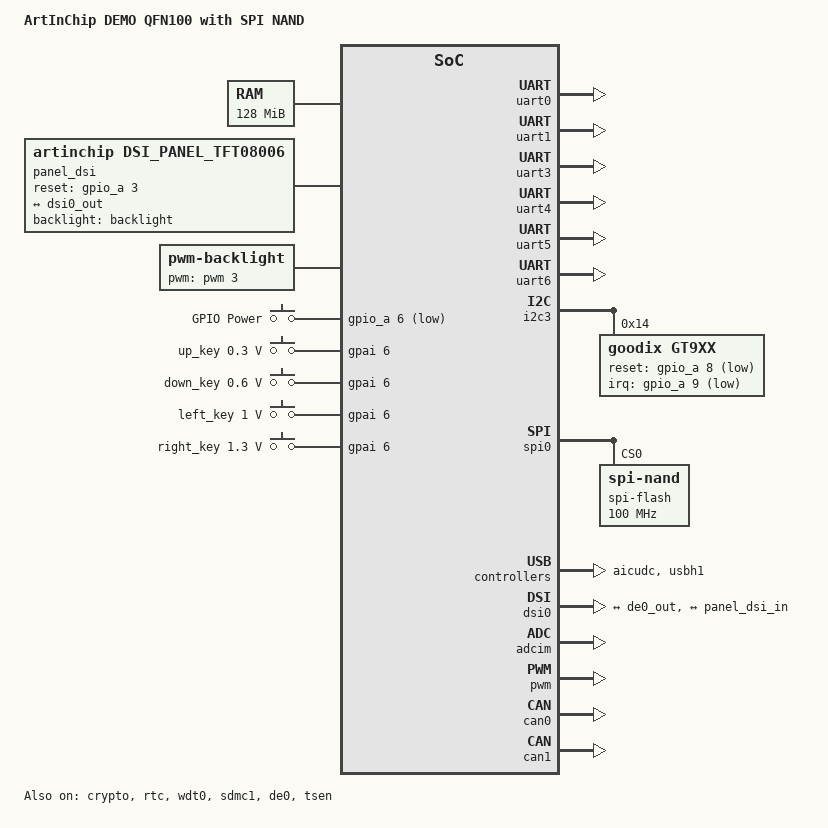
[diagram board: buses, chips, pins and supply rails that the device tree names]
/*
 * Copyright (C) 2020-2022 ArtInChip Technology Co., Ltd.
 *
 * This file is dual-licensed: you can use it either under the terms
 * of the GPL or the X11 license, at your option. Note that this dual
 * licensing only applies to this file, and not this project as a
 * whole.
 *
 *  a) This file is free software; you can redistribute it and/or
 *     modify it under the terms of the GNU General Public License as
 *     published by the Free Software Foundation; either version 2 of the
 *     License, or (at your option) any later version.
 *
 *     This file is distributed in the hope that it will be useful,
 *     but WITHOUT ANY WARRANTY; without even the implied warranty of
 *     MERCHANTABILITY or FITNESS FOR A PARTICULAR PURPOSE.  See the
 *     GNU General Public License for more details.
 *
 * Or, alternatively,
 *
 *  b) Permission is hereby granted, free of charge, to any person
 *     obtaining a copy of this software and associated documentation
 *     files (the "Software"), to deal in the Software without
 *     restriction, including without limitation the rights to use,
 *     copy, modify, merge, publish, distribute, sublicense, and/or
 *     sell copies of the Software, and to permit persons to whom the
 *     Software is furnished to do so, subject to the following
 *     conditions:
 *
 *     The above copyright notice and this permission notice shall be
 *     included in all copies or substantial portions of the Software.
 *
 *     THE SOFTWARE IS PROVIDED "AS IS", WITHOUT WARRANTY OF ANY KIND,
 *     EXPRESS OR IMPLIED, INCLUDING BUT NOT LIMITED TO THE WARRANTIES
 *     OF MERCHANTABILITY, FITNESS FOR A PARTICULAR PURPOSE AND
 *     NONINFRINGEMENT. IN NO EVENT SHALL THE AUTHORS OR COPYRIGHT
 *     HOLDERS BE LIABLE FOR ANY CLAIM, DAMAGES OR OTHER LIABILITY,
 *     WHETHER IN AN ACTION OF CONTRACT, TORT OR OTHERWISE, ARISING
 *     FROM, OUT OF OR IN CONNECTION WITH THE SOFTWARE OR THE USE OR
 *     OTHER DEALINGS IN THE SOFTWARE.
 */

/dts-v1/;
#include "d211.dtsi"
#include "d211-pinctrl.dtsi"
#include <dt-bindings/display/artinchip,aic-disp.h>
#include <dt-bindings/gpio/gpio.h>
#include <dt-bindings/pwm/pwm.h>
#include <dt-bindings/input/input.h>

/ {
	model = "ArtInChip DEMO QFN100 with SPI NAND";
	compatible = "artinchip,d211";
	package = "QFN128";

	aliases {
		gpio0 = &gpio_a;
		gpio1 = &gpio_b;
		gpio2 = &gpio_c;
		gpio3 = &gpio_d;
		gpio4 = &gpio_e;
		gpio5 = &gpio_f;
		pinctrl = &pinctrl;
		serial0 = &uart0;
		serial1 = &uart1;
		serial2 = &uart2;
		serial3 = &uart3;
		serial4 = &uart4;
		serial5 = &uart5;
		serial6 = &uart6;
		serial7 = &uart7;
		i2c0 = &i2c0;
		i2c1 = &i2c1;
		i2c2 = &i2c2;
		i2c3 = &i2c3;
		can0 = &can0;
		can1 = &can1;
		spi0 = &spi0;
		spi1 = &spi1;
		spi2 = &spi2;
		spi3 = &spi3;
		gmac0 = &gmac0;
		gmac1 = &gmac1;
		rtc = &rtc;
		wdt0 = &wdt0;
		fb0 = &fb0;
		de0 = &de0;
		lvds0 = &lvds0;
		rgb0 = &rgb0;
		dsi0 = &dsi0;
		dvp0 = &dvp0;
		cir = &cir;
		adcim = &adcim;
		gpai = &gpai;
		rtp = &rtp;
		tsen = &tsen;
		pwm = &pwm;
		sdmc0 = &sdmc0;
		sdmc1 = &sdmc1;
		sdmc2 = &sdmc2;
	};

	chosen {
		stdout-path = "serial0:115200n8";
		bootargs = "rdinit=/init earlycon=sbi loglevel=8";
		reset-after-fw-burn;
	};

	memory@40000000 {
		device_type = "memory";
		reg = <0x0 0x40000000 0x0 0x8000000>;
	};

	/* Reserved 1M memory for aic ramdump
	   When enable CONFIG_AIC_RAMDUMP in linux kernel, also must enable below node.
	*/
	reserved-memory {
		#address-cells = <2>;
		#size-cells = <2>;
		ranges;

	#if 0
		aic_ramdump_buf {
			compatible = "artinchip,aic-ramdump";
			no-map;
			reg = <0x43f00000 0x100000>;
		};
	#endif
		};
#if 0
	syspower {
		compatible = "artinchip,aic-power";
		power-gpios = <&gpio_e 13 GPIO_ACTIVE_HIGH>;
	};
#endif

	panel_rgb {
		compatible = "artinchip,aic-general-rgb-panel";
		status = "disabled";

		enable-gpios = <&gpio_e 19 GPIO_ACTIVE_HIGH>;
		rgb-mode = <PRGB>;
		interface-format = <PRGB_16BIT_LD>;
		clock-phase = <DEGREE_0>;
		data-order = <RGB>;
		disp-dither = <DITHER_RGB565>;

		port {
			panel_rgb_in: endpoint {
			remote-endpoint = <&rgb0_out>;
			};
		};

		display-timings {
			native-mode = <&timing0>;
			timing0: 1024x600 {
				clock-frequency = <52000000>;
				hactive = <1024>;
				vactive = <600>;
				hback-porch = <160>;
				hfront-porch = <160>;
				hsync-len = <20>;
				vback-porch = <12>;
				vfront-porch = <20>;
				vsync-len = <3>;
				de-active = <1>;
				pixelclk-active = <1>;
			};
		};
	};
	panel_dsi {
		compatible = "artinchip,dsi_panel_tft08006";
		backlight = <&backlight>;
		status = "okay";

		//dcdc-en-gpios  = <&gpio_p 0 GPIO_ACTIVE_HIGH>;
		reset-gpios  = <&gpio_a 3 GPIO_ACTIVE_HIGH>;
		//enable-gpios = <&gpio_c 7 GPIO_ACTIVE_HIGH>;

		port {
			panel_dsi_in: endpoint {
				remote-endpoint = <&dsi0_out>;
			};
		};
		display-timings {
			native-mode = <&timing2>;
			timing2: 480x800 {
				clock-frequency = <62000000>;
				hactive = <400>;
				vactive = <1280>;
				hback-porch = <80>;
				hfront-porch = <100>;
				hsync-len = <30>;
				vback-porch = <30>;
				vfront-porch = <30>;
				vsync-len = <20>;
				de-active = <0>;
				pixelclk-active = <0>;
			};
		};
	};

	backlight: backlight {
		compatible = "pwm-backlight";
		/* pwm node name; pwm device No.; period_ns; pwm_polarity */
		pwms = <&pwm 3 1000000 1>;
		brightness-levels = <0 10 20 30 40 50 60 70 80 90 100>;
		default-brightness-level = <1>;
		status = "okay";
	};

	keys: gpio-keys {
		compatible = "gpio-keys";

		power {
			wakeup-source;
			gpios = <&gpio_a 6 GPIO_ACTIVE_LOW>;
			label = "GPIO Power";
			linux,code = <KEY_POWER>;
		};
	};

	key_button: adc-keys {
		compatible = "adc-keys";
		io-channels = <&gpai 6>;
		io-channel-names = "buttons";
		poll-interval = <200>;
		keyup-threshold-microvolt = <3000000>;

		up-key {
			label = "up_key";
			linux,code = <KEY_UP>;
			press-threshold-microvolt = <300000>;
		};

		down-key {
			label = "down_key";
			linux,code = <KEY_DOWN>;
			press-threshold-microvolt = <600000>;
		};

		left-key {
			label = "left_key";
			linux,code = <KEY_LEFT>;
			press-threshold-microvolt = <1000000>;
		};

		right-key {
			label = "right_key";
			linux,code = <KEY_RIGHT>;
			press-threshold-microvolt = <1300000>;
		};
	};
};

&crypto {
	status = "okay";
};

&cmu {
	pll-int0 = <600000000>;
	pll-int1 = <1200000000>;
	pll-frac1 = <491520000>;
	pll-frac2 = <840000000>;
	axi0 = <240000000>;
	ahb0 = <240000000>;
	apb0 = <100000000>;
	apb1 = <24000000>;
	clk-out0 = <25000000>;
	clk-out1 = <25000000>;
	clk-out2 = <25000000>;
	clk-out3 = <25000000>;
	// clk-out0-enable;
	// clk-out1-enable;
	/* Enable clock out2 */
	clk-out2-enable;
	clk-out3-enable;
};

&rtc {
	aic,alarm-io-output;
	status = "okay";
};

&wdt0 {
	timeout-sec = <16>;
	status = "okay";
};

&uart0 {
	pinctrl-names = "default";
	pinctrl-0 = <&uart0_pins_a>;
	status = "okay";
};

&uart1 {
	pinctrl-names = "default";
	pinctrl-0 = <&uart1_pins_a>;
	linux,rs485-enabled-at-boot-time;
	status = "okay";
};

&uart2 {
	pinctrl-names = "default";
	pinctrl-0 = <&uart2_pins_a>;
	status = "disabled";
};

&uart3 {
	pinctrl-names = "default";
	pinctrl-0 = <&uart3_pins_c>;
	status = "okay";
};

&uart4 {
	pinctrl-names = "default";
	pinctrl-0 = <&uart4_pins_b>;
	status = "okay";
};

&uart5 {
	pinctrl-names = "default";
	pinctrl-0 = <&uart5_pins_c>;
	status = "okay";
};

&uart6 {
	pinctrl-names = "default";
	pinctrl-0 = <&uart6_pins_b>;
	status = "okay";
};

&uart7 {
	pinctrl-names = "default";
	pinctrl-0 = <&uart7_pins_a>;
	status = "disabled";
};

&i2c0 {
	pinctrl-names = "default";
	pinctrl-0 = <&i2c0_pins_b>;
	status = "disabled";
	rtc@32 {
		compatible = "epson,rx8010";
		reg = <0x32>;
	};
};

&i2c1 {
	pinctrl-names = "default";
	pinctrl-0 = <&i2c1_pins_a>;
	status = "disabled";
};
&i2c2 {
	pinctrl-names = "default";
	pinctrl-0 = <&i2c2_pins_a>;
	status = "disabled";
};

&i2c3 {
	pinctrl-names = "default";
	pinctrl-0 = <&i2c3_pins_a>;
	status = "okay";
	gt9xx@14{ 
			compatible = "goodix,gt9xx";	
			status = "okay";
			reg = <0x14>;			
	    	reset-gpios = <&gpio_a 8 GPIO_ACTIVE_LOW>;
        	irq-gpios = <&gpio_a 9 GPIO_ACTIVE_LOW>;
        	irq-flags = <2>;
        	touchscreen-max-id = <11>;
        	touchscreen-size-x = <1280>;                //CTP x轴的范围
        	touchscreen-size-y = <400>;                 //CTP y轴的范围
        	touchscreen-max-w = <512>;                  //MAX width
        	touchscreen-max-p = <512>;                  //MAX pressure
			goodix,driver-send-cfg = <1>;
        	goodix,int-sync = <1>;
			/*
			goodix,cfg-group0 = [
				00 00 05 90 01 05 BD 00 01 08
				1E 05 3C 3C 03 05 00 00 00 00
				00 00 00 1A 1C 1E 14 8A 2A 0C
				2A 28 EB 04 00 00 01 61 03 2C
				00 01 00 00 00 00 00 00 00 00
				00 14 3C 94 C5 02 08 00 00 04 
				B7 16 00 9F 1B 00 8B 22 00 7B
				2B 00 70 36 00 70 00 00 00 00
				00 00 00 00 00 00 00 00 00 00
				00 00 00 00 00 00 00 00 00 00
				00 00 00 00 00 00 00 00 00 00
				00 00 18 16 14 12 10 0E 0C 0A
				08 06 04 02 FF FF FF FF FF FF
				FF FF FF FF FF FF FF FF FF FF
				FF FF 24 22 21 20 1F 1E 1D 1C
				18 16 13 12 10 0F 0A 08 06 04
				02 00 FF FF FF FF FF FF FF FF
				FF 00 00 00 00 00 00 00 00 00
				00 00 00 00 34 01
			];
			*/
goodix,cfg-group0 = [
    /* 将 0x3D 改为 0x2D 来翻转X轴 */
    43 00 05 90 01 0A 2D 00 01 0F 28 0F 50 32 03 05 
    00 00 00 00 22 00 00 18 1A 1E 14 8A 2A 0A 34 32 
    B5 06 00 00 00 B9 02 2C 00 00 00 00 00 03 64 32 
    00 00 00 1E 46 94 D5 02 07 0A 00 04 BD 20 00 A2 
    26 00 8C 2D 00 78 36 00 68 40 00 68 00 00 00 00 
    00 00 00 00 00 00 00 00 00 00 00 00 00 00 00 00 
    00 00 00 00 00 00 00 00 00 00 00 00 00 00 00 00 
    14 12 10 0E 0C 0A 08 06 04 02 FF FF FF FF FF FF 
    FF FF FF FF FF FF FF FF FF FF FF FF FF FF 00 02 
    04 06 08 0A 0F 10 12 13 24 22 21 20 1F 1E 1D 1C 
    18 16 FF FF FF FF FF FF FF FF FF FF FF FF FF FF 
    FF FF FF FF FF FF FF FF 2D 01  /* 注意校验和也需要改 */
];
		};
};

&spi0 {
	pinctrl-names = "default";
	pinctrl-0 = <&spi0_pins_a>;
	status = "okay";
	spi-max-frequency = <100000000>;
	spi-flash@0 {
		#address-cells = <1>;
		#size-cells = <1>;
		compatible = "spi-nand";
		spi-max-frequency = <100000000>;
		spi-tx-bus-width = <4>;
		spi-rx-bus-width = <4>;
		reg = <0>;
		// aic,encrypt;
		// aic,spi-id = <0>;
		status = "okay";
	};
};

&spi1 {
	pinctrl-names = "default";
	pinctrl-0 = <&spi1_pins_a>;
	status = "disabled";
};
/*
&spi2 {
	pinctrl-names = "default";
	pinctrl-0 = <&spi2_pins_a>;
	status = "disabled";
};
*/
&spi3 {
	pinctrl-names = "default";
	pinctrl-0 = <&spi3_pins_a>;
	status = "disabled";
};

&sdmc0 {
	pinctrl-names = "default";
	pinctrl-0 = <&sdmc0_pins>;
	bus-width = <4>;
	cap-mmc-highspeed;
	status = "disabled";
};

&sdmc1 {
	pinctrl-names = "default";
	pinctrl-0 = <&sdmc1_pins>;
	bus-width = <4>;
	cap-sd-highspeed;
	status = "okay";
};
/*
&sdmc2 {
	pinctrl-names = "default";
	pinctrl-0 = <&sdmc2_pins>;
	status = "disabled";
};
*/

/* case 1: USB0 = OTG Enable */
#if 0
&otg {
	id-gpios = <&gpio_a 2 GPIO_ACTIVE_HIGH>;
	// vbus-en-gpios = <&gpio_a 3 GPIO_ACTIVE_HIGH>;
	status = "okay";
};

&aicudc {
	pinctrl-names = "default";
	pinctrl-0 = <&usb0_pins_a>;
	status = "okay";
};

&usbh0 {
	status = "okay";
};

&ohci0 {
	status = "okay";
};

/* case 2: USB0 = OTG Disable */
#else

&otg {
	status = "disabled";
};

/* case 2.1: USB0 = Device */
#if 1
&aicudc {
	pinctrl-names = "default";
	pinctrl-0 = <&usb0_pins_a>;
	status = "okay";
};

&usbh0 {
	status = "disabled";
};
&ohci0 {
	status = "disabled";
};

/* case 2.2: USB0 = Host */
#else
// &aicudc {
// 	aic,only-uboot-use;
// 	status = "okay";
// };

&usbh0 {
	pinctrl-names = "default";
	pinctrl-0 = <&usb0_pins_a>;
	artinchip,sw_usb_phy0;
	// vbus-en-gpios = <&gpio_a 3 GPIO_ACTIVE_HIGH>;
	status = "okay";
};
&ohci0 {
	status = "okay";
};
#endif
#endif

&usbh1 {
	status = "okay";
};

&pinctrl {
	gmac0_local_pins: gmac0-2 {
		pins {
			pinmux = <AIC_PINMUX('E', 0, 6)>,
				 <AIC_PINMUX('E', 1, 6)>,
				 <AIC_PINMUX('E', 2, 6)>,
				 <AIC_PINMUX('E', 3, 6)>,
				 <AIC_PINMUX('E', 4, 6)>,
				 <AIC_PINMUX('E', 5, 6)>,
				 <AIC_PINMUX('E', 7, 6)>,
				 <AIC_PINMUX('E', 8, 6)>,
				 <AIC_PINMUX('E', 9, 6)>;
			bias-disable;
			drive-strength = <3>;
		};
	};

	gmac1_local_pins: gmac1-0 {
                pins {
                        pinmux = <AIC_PINMUX('F', 0, 6)>,
                                 <AIC_PINMUX('F', 1, 6)>,
                                 <AIC_PINMUX('F', 2, 6)>,
                                 <AIC_PINMUX('F', 3, 6)>,
                                 <AIC_PINMUX('F', 4, 6)>,
                                 <AIC_PINMUX('F', 5, 6)>,
                                 <AIC_PINMUX('F', 7, 6)>,
                                 <AIC_PINMUX('F', 8, 6)>,
                                 <AIC_PINMUX('F', 9, 6)>;
                        bias-disable;
                        drive-strength = <3>;
                };
        };

	pwm3_pins_d: pwm3-3 {
		pins {
			pinmux = <AIC_PINMUX('C', 7, 7)>;
			bias-disable;
			drive-strength = <3>;
		};
	};

	spk_pins_d: spk-3 {
		pins {
			pinmux = <AIC_PINMUX('E', 11, 4)>;
			bias-disable;
			drive-strength = <3>;
		};
	};
};

&gmac0 {
	pinctrl-names = "default";
	pinctrl-0 = <&gmac0_local_pins>, <&clk_out2_pins_b>;
	phy-handle = <&gmac0_phy>;
	phy-reset-gpios = <&gpio_e 6 GPIO_ACTIVE_HIGH>;
	phy-addr = <1>;
	phy-mode = "rmii";
	max-speed = <100>;
	aic,use_extclk;

	status = "disabled";

	gmac0_mdio: mdio {
		compatible = "aicmac-mdio";
		#address-cells = <1>;
		#size-cells = <0>;
		gmac0_phy: ethernet-phy@1 {
			reg = <1>;
		};
	};
};

&gmac1 {
        pinctrl-names = "default";
        pinctrl-0 = <&gmac1_local_pins>, <&clk_out3_pins_b>;
        phy-handle = <&gmac1_phy>;
        phy-reset-gpios = <&gpio_f 6 GPIO_ACTIVE_HIGH>;
        phy-addr = <1>;
        phy-mode = "rmii";
        max-speed = <100>;
        aic,use_extclk;
	local-mac-address = [2e f6 01 e3 76 b6];

        status = "disabled";

        gmac1_mdio: mdio {
                compatible = "aicmac-mdio";
                #address-cells = <1>;
                #size-cells = <0>;
                gmac1_phy: ethernet-phy@1 {
                        reg = <1>;
                };
        };
};

&codec {
	pinctrl-names = "default";
	pinctrl-0 = <&spk_pins_d>, <&dmic_pins_b>;
	pa-gpios = <&gpio_a 7 GPIO_ACTIVE_LOW>;
	status = "disabled";
};

/* The data flow:
 * fb ---> de ----> lvds ----> panel
 *              |-> rgb  ->|
 *              '-> dsi  ->'
 */

&fb0 {
	artinchip,uboot-logo-on=<1>;
	height-virtual = <800>;
	rotation-degress = <90>;
        disp-bright = <50>;
        disp-contrast = <50>;
        disp-saturation = <50>;
        disp-hue = <50>;
	port {
		fb0_out: endpoint {
			remote-endpoint = <&de0_in>;
		};
	};
};

&de0 {
	status = "okay";

	port@0 {
		reg = <0>;
		de0_in: endpoint {
			remote-endpoint = <&fb0_out>;
		};
	};

	port@1 {
		reg = <1>;
		de0_out: endpoint {
			remote-endpoint = <&dsi0_in>;
		};
	};
};

&rgb0 {
	pinctrl-names = "default", "sleep";
	pinctrl-0 = <&lcd_rgb565_ld_pins>;
	pinctrl-1 = <&lcd_rgb565_ld_sleep_pins>;
	status = "disabled";

	port@0 {
		reg = <0>;
		rgb0_in: endpoint {
			remote-endpoint = <&rgb0_in>;
		};
	};

	port@1 {
		reg = <1>;
		rgb0_out: endpoint {
			remote-endpoint = <&panel_rgb_in>;
		};
	};
};

&dsi0 {
    status = "okay";
    pinctrl-names = "default";
    pinctrl-0 = <&dsi_pins>;
    //data-lanes = <0 1>;
    //lane-polarities=<0 0>;
    data-clk-inverse;
    port@0 {
        reg = <0>;
        dsi0_in: endpoint {
            remote-endpoint = <&de0_out>;
        };
    };

    port@1 {
        reg = <1>;
        dsi0_out: endpoint {
            remote-endpoint = <&panel_dsi_in>;
        };
    };
};

&cir {
	pinctrl-names = "default";
	pinctrl-0 = <&cir_pins_a>;
	rx-level = <1>;
	linux,rc-map-name = "rc-empty";
	status = "disabled";
};

&adcim {
	status = "okay";
};

&gpai {
	status = "disabled";
	pinctrl-names = "default";
	pinctrl-0 = <&gpai7_pins>;

	gpai0 {
		aic,sample-period-ms = <10>;
		aic,high-level-thd = <1830>;
		aic,low-level-thd = <1800>;
		status = "disabled";
	};

	gpai1 {
		status = "disabled";
	};

	gpai2 {
		status = "disabled";
	};

	gpai3 {
		status = "disabled";
	};

	gpai4 {
		status = "disabled";
	};

	gpai5 {
		status = "disabled";
	};

	gpai6 {
		status = "okay";
	};

	gpai7 {
		status = "disabled";
	};
};

&rtp {
	aic,max-pressure = <800>;
	aic,x-plate = <235>;
	pinctrl-names = "default";
	pinctrl-0 = <&rtp_pins>;
	status = "disabled";
};

&tsen {
	status = "okay";

	tsen0 {
		status = "okay";
	};

	tsen1 {
		status = "okay";
	};
};

&pwm {
	status = "okay";
	pinctrl-names = "default";
	pinctrl-0 = <&pwm3_pins_d>;
	/* mode: up-count, down-count, up-down-count
	   action: none, low, high, inverse */
	pwm0 {
		aic,mode = "up-count";
		aic,tb-clk-rate = <24000000>;
		aic,rise-edge-delay = <10>;
		aic,fall-edge-delay = <10>;
		/*            CBD,    CBU,    CAD,    CAU,    PRD,   ZRO */
		aic,action0 = "none", "none", "none", "low", "none", "high";
		aic,action1 = "none", "none", "none", "high", "none", "low";
		status = "disabled";
	};

	pwm1 {
		aic,mode = "down-count";
		aic,tb-clk-rate = <24000000>;
		aic,rise-edge-delay = <10>;
		aic,fall-edge-delay = <10>;
		/*            CBD,    CBU,    CAD,    CAU,    PRD,   ZRO */
		aic,action0 = "none", "none", "none", "low", "none", "high";
		aic,action1 = "none", "none", "none", "high", "none", "low";
		status = "disabled";
	};

	pwm2 {
		aic,mode = "up-count";
		aic,tb-clk-rate = <24000000>;
		/*            CBD,    CBU,    CAD,    CAU,    PRD,   ZRO */
		aic,action0 = "none", "none", "none", "high", "low", "none";
		aic,action1 = "none", "none", "none", "low", "high", "none";
		aic,default-level = <0>;
		aic,rise-edge-delay = <10>;
		aic,fall-edge-delay = <10>;
		status = "disabled";
	};

	pwm3 {
		aic,mode = "up-count";
		aic,tb-clk-rate = <24000000>;
		/*            CBD,    CBU,    CAD,    CAU,    PRD,   ZRO */
		aic,action0 = "none", "none", "none", "low", "none", "high";
		aic,action1 = "none", "none", "none", "high", "none", "low";
		aic,default-level = <0>;
		aic,rise-edge-delay = <10>;
		aic,fall-edge-delay = <10>;
		status = "okay";
	};
};

&can0 {
       pinctrl-names = "default";
       pinctrl-0 = <&can0_pins_a>;
       status = "okay";
};

&can1 {
       pinctrl-names = "default";
       pinctrl-0 = <&can1_pins_a>;
       status = "okay";
};
